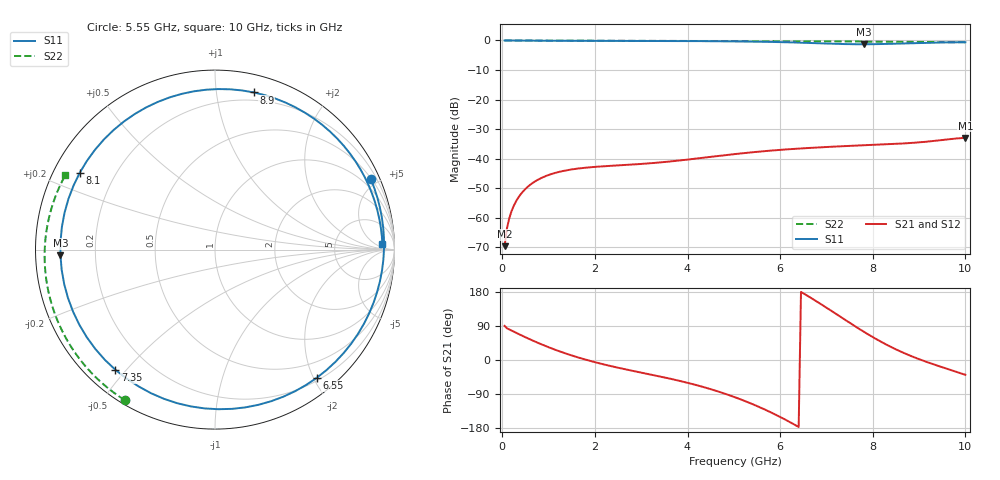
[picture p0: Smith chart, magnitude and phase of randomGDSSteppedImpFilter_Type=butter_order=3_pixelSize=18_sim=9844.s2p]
! freq	dB(S11)	phase(S11)	dB(S12)	phase(S12)
!  dB(S21)	phase(S21)	dB(S22)	phase(S22)
!S-par simulation data
#  GHz  S  DB  R 50
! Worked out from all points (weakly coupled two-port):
!   200 points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, 50 MHz to 10 GHz, reference 50 ohm
!   highest |S21| = -32.99 dB at 10 GHz (marker M1); lowest = -69.6 dB at 50 MHz (marker M2)
!   lowest |S11| = -1.3 dB at 7.8 GHz (marker M3), VSWR 13.46, Z = 3.72 - j0.921 ohm
!   |S11| at or under -10 dB: nowhere
!   |S22| runs from -0.6 to 0.0 dB; largest |S21 - S12| = 0
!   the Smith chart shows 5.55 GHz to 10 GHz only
!   S11 on the Smith chart (normalised r, x): 5.55 GHz: 0.54, +4.57; 6.55 GHz: 0.24, -2.04; 7.35 GHz: 0.08, -0.47; 8.1 GHz: 0.08, +0.26; 8.9 GHz: 0.13, +1.27; 10 GHz: 24, +11
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0.05  -0.00 -5.0  -69.63 90.0  -69.63 90.0  -0.00 -1.2
0.15  -0.02 -14.8  -60.21 80.7  -60.21 80.7  -0.00 -3.7
0.3  -0.04 -29.3  -54.36 71.7  -54.36 71.7  -0.01 -7.3
0.85  -0.09 -78.2  -46.50 41.1  -46.50 41.1  -0.03 -20.5
1.25  -0.11 -108.2  -44.40 22.3  -44.40 22.3  -0.04 -30.0
1.75  -0.13 -139.8  -43.15 2.7  -43.15 2.7  -0.05 -41.6
2.55  -0.14 178.2  -42.25 -21.7  -42.25 -21.7  -0.08 -59.7
3.4  -0.17 138.4  -41.30 -43.4  -41.30 -43.4  -0.10 -78.1
4.3  -0.23 95.4  -39.78 -69.8  -39.78 -69.8  -0.14 -96.6
5.05  -0.32 55.2  -38.41 -99.4  -38.41 -99.4  -0.17 -111.4
5.55  -0.42 24.4  -37.62 -124.1  -37.62 -124.1  -0.20 -121.0
6.05  -0.58 -10.9  -36.97 -153.4  -36.97 -153.4  -0.23 -130.4
6.55  -0.80 -51.7  -36.46 172.4  -36.46 172.4  -0.26 -139.7
6.7  -0.88 -65.1  -36.32 161.3  -36.32 161.3  -0.27 -142.5
7.05  -1.07 -98.7  -36.02 134.1  -36.02 134.1  -0.30 -149.0
7.35  -1.21 -129.6  -35.79 110.2  -35.79 110.2  -0.33 -154.6
7.8  -1.29 -177.9  -35.47 75.0  -35.47 75.0  -0.37 -163.0
8.1  -1.24 150.5  -35.28 53.5  -35.28 53.5  -0.40 -168.7
8.35  -1.15 125.4  -35.11 37.1  -35.11 37.1  -0.42 -173.4
8.9  -0.90 76.2  -34.62 6.9  -34.62 6.9  -0.48 175.9
9.45  -0.70 35.5  -33.78 -17.1  -33.78 -17.1  -0.55 164.9
10  -0.60 1.9  -32.99 -39.0  -32.99 -39.0  -0.62 153.4
